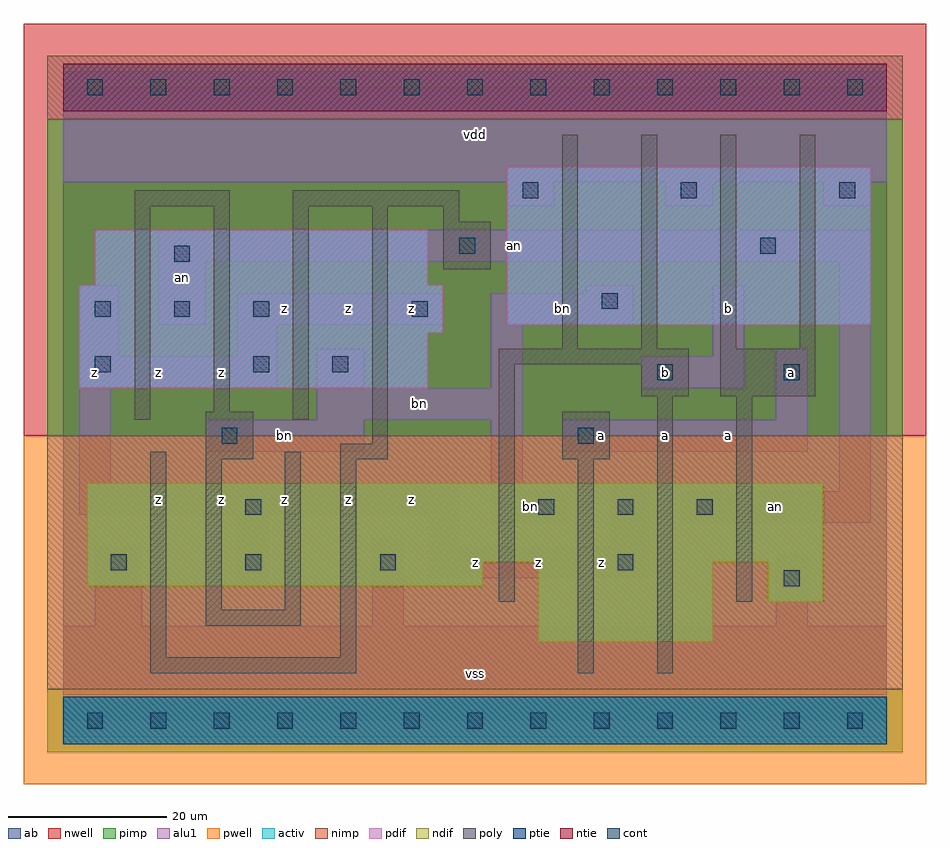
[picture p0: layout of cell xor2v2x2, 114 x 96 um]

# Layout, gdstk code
import gdstk
lib = gdstk.Library(unit=1e-6, precision=1e-09)
def R(c, l, rs):  # rectangles x0, y0, x1, y1
    for r in rs: c.add(gdstk.rectangle(r[:2], r[2:], *l))
def A(c, l, x, y, w, h, nx, ny, dx, dy):  # array of equal rectangles
    R(c, l, [(x+i*dx, y+j*dy, x+i*dx+w, y+j*dy+h) for i in range(nx) for j in range(ny)])
ndif = (3, 0)
pdif = (4, 0)
ntie = (5, 0)
ptie = (6, 0)
cont = (25, 0)
pwell = (41, 0)
nwell = (42, 0)
activ = (43, 0)
pimp = (44, 0)
nimp = (45, 0)
poly = (46, 0)
alu1 = (49, 0)
ab = (63, 0)

xor2v2x2 = lib.new_cell('xor2v2x2')
R(xor2v2x2, ndif, [(60,10,82,20), (89,15,96,20), (3,17,53,20), (3,20,96,30)])
R(xor2v2x2, pdif, [(2,42,46,49), (2,49,48,55), (56,50,102,70), (4,55,46,62)])
R(xor2v2x2, ntie, [(0,77,104,83)])
R(xor2v2x2, ptie, [(0,-3,104,3)])
A(xor2v2x2, cont, 3, -1, 2, 2, 13, 2, 8, 80)
A(xor2v2x2, cont, 6, 19, 2, 2, 3, 1, 17, 0)
A(xor2v2x2, cont, 60, 26, 2, 2, 3, 1, 10, 0)
A(xor2v2x2, cont, 4, 51, 2, 2, 3, 1, 10, 0)
A(xor2v2x2, cont, 58, 66, 2, 2, 3, 1, 20, 0)
R(xor2v2x2, cont, [(91,17,93,19), (70,19,72,21), (23,26,25,28), (20,35,22,37), (65,35,67,37), (75,43,77,45), (91,43,93,45), (4,44,6,46), (24,44,26,46), (34,44,36,46), (44,51,46,53), (68,52,70,54), (14,58,16,60), (50,59,52,61), (88,59,90,61)])
R(xor2v2x2, pwell, [(-5,-8,109,36)])
R(xor2v2x2, nwell, [(-5,36,109,88)])
R(xor2v2x2, activ, [(0,-3,104,3), (60,10,82,20), (89,15,96,20), (3,17,53,20), (3,20,96,30), (2,42,46,49), (2,49,48,55), (56,50,102,70), (4,55,46,62), (0,77,104,83)])
R(xor2v2x2, pimp, [(-2,-4,106,4), (-2,36,106,76)])
R(xor2v2x2, nimp, [(-2,4,106,36), (-2,76,106,84)])
A(xor2v2x2, poly, 63, 47, 2, 27, 4, 1, 10, 0)
R(xor2v2x2, poly, [(11,6,37,8), (65,6,67,33), (75,6,77,41), (11,8,13,34), (35,8,37,33), (18,12,30,14), (18,14,20,33), (28,14,30,34), (55,15,57,45), (85,15,87,41), (18,33,24,39), (35,33,41,35), (63,33,69,39), (39,35,41,65), (9,38,11,65), (29,38,31,65), (19,39,21,65), (73,41,79,45), (83,41,95,47), (55,45,79,47), (48,57,54,63), (48,63,50,65), (9,65,21,67), (29,65,50,67)])
A(xor2v2x2, alu1, 56, 65, 6, 3, 3, 1, 20, 0)
R(xor2v2x2, alu1, [(0,-2,104,12), (4,12,10,22), (39,12,43,23), (90,12,94,21), (22,17,26,26), (46,18,74,22), (46,22,50,26), (69,22,74,30), (54,25,64,29), (78,25,102,29), (2,26,50,30), (54,29,58,38), (98,29,102,58), (2,30,6,42), (18,34,38,38), (63,34,94,38), (32,38,58,42), (90,38,94,47), (2,42,27,46), (32,42,38,47), (54,42,58,50), (73,42,86,46), (2,46,7,55), (22,46,27,50), (82,46,86,55), (12,50,18,58), (22,50,48,54), (54,50,72,54), (66,54,72,55), (12,58,102,62), (0,68,104,82)])
R(xor2v2x2, ab, [(0,0,104,80)])
xor2v2x2.add(gdstk.Label('an', (15,56), layer=49, texttype=0))
xor2v2x2.add(gdstk.Label('bn', (28,36), layer=49, texttype=0))
xor2v2x2.add(gdstk.Label('bn', (59,27), layer=49, texttype=0))
xor2v2x2.add(gdstk.Label('bn', (45,40), layer=49, texttype=0))
xor2v2x2.add(gdstk.Label('bn', (63,52), layer=49, texttype=0))
xor2v2x2.add(gdstk.Label('an', (90,27), layer=49, texttype=0))
xor2v2x2.add(gdstk.Label('an', (57,60), layer=49, texttype=0))
xor2v2x2.add(gdstk.Label('z', (20,28), layer=49, texttype=0))
xor2v2x2.add(gdstk.Label('z', (12,28), layer=49, texttype=0))
xor2v2x2.add(gdstk.Label('z', (12,44), layer=49, texttype=0))
xor2v2x2.add(gdstk.Label('z', (4,44), layer=49, texttype=0))
xor2v2x2.add(gdstk.Label('z', (20,44), layer=49, texttype=0))
xor2v2x2.add(gdstk.Label('z', (28,28), layer=49, texttype=0))
xor2v2x2.add(gdstk.Label('z', (44,28), layer=49, texttype=0))
xor2v2x2.add(gdstk.Label('z', (36,28), layer=49, texttype=0))
xor2v2x2.add(gdstk.Label('z', (28,52), layer=49, texttype=0))
xor2v2x2.add(gdstk.Label('z', (44,52), layer=49, texttype=0))
xor2v2x2.add(gdstk.Label('z', (36,52), layer=49, texttype=0))
xor2v2x2.add(gdstk.Label('vss', (52,6), layer=49, texttype=0))
xor2v2x2.add(gdstk.Label('z', (60,20), layer=49, texttype=0))
xor2v2x2.add(gdstk.Label('z', (68,20), layer=49, texttype=0))
xor2v2x2.add(gdstk.Label('z', (52,20), layer=49, texttype=0))
xor2v2x2.add(gdstk.Label('a', (76,36), layer=49, texttype=0))
xor2v2x2.add(gdstk.Label('a', (68,36), layer=49, texttype=0))
xor2v2x2.add(gdstk.Label('b', (76,44), layer=49, texttype=0))
xor2v2x2.add(gdstk.Label('vdd', (52,74), layer=49, texttype=0))
xor2v2x2.add(gdstk.Label('a', (84,36), layer=49, texttype=0))
xor2v2x2.add(gdstk.Label('a', (92,44), layer=49, texttype=0))
xor2v2x2.add(gdstk.Label('b', (84,52), layer=49, texttype=0))

lib.write_gds('xor2v2x2.gds')
